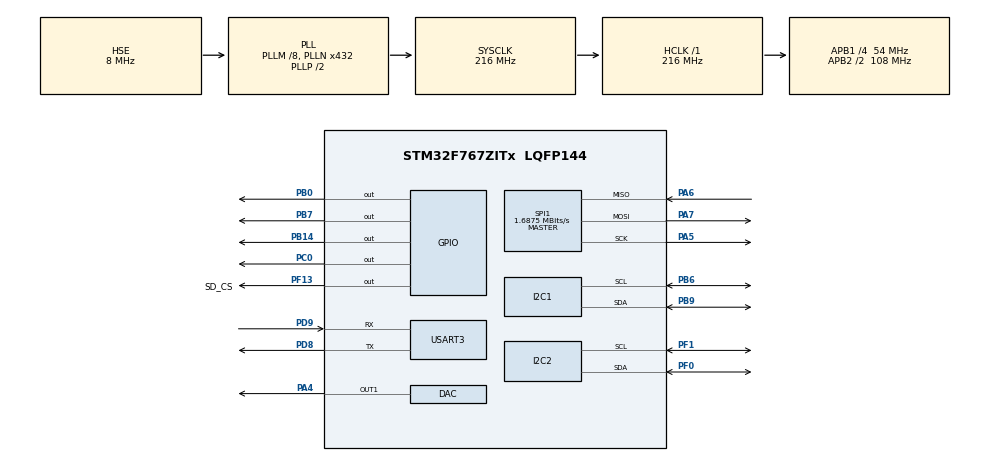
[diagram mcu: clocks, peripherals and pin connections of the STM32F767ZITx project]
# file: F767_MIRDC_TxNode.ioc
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CORTEX_M7.default_mode_Activation=1
DAC.DAC_Trigger=DAC_TRIGGER_T6_TRGO
Dma.DAC1.0.Direction=DMA_MEMORY_TO_PERIPH
Dma.DAC1.0.FIFOMode=DMA_FIFOMODE_DISABLE
Dma.DAC1.0.Instance=DMA1_Stream5
Dma.DAC1.0.MemDataAlignment=DMA_MDATAALIGN_HALFWORD
Dma.DAC1.0.MemInc=DMA_MINC_ENABLE
Dma.DAC1.0.Mode=DMA_NORMAL
Dma.DAC1.0.PeriphDataAlignment=DMA_PDATAALIGN_HALFWORD
Dma.DAC1.0.PeriphInc=DMA_PINC_DISABLE
Dma.DAC1.0.Priority=DMA_PRIORITY_HIGH
Dma.Request0=DAC1
I2C1.Timing=0x20404768
I2C2.Timing=0x20404768
Mcu.Family=STM32F7
Mcu.Name=STM32F767ZITx
Mcu.Package=LQFP144
NVIC.DMA1_Stream5_IRQn=true\:0\:0\:false\:false\:true\:false\:true\:true
NVIC.PriorityGroup=NVIC_PRIORITYGROUP_4
PA4.Signal=COMP_DAC1_group
PA5.Mode=Full_Duplex_Master
PA5.Signal=SPI1_SCK
PA6.Mode=Full_Duplex_Master
PA6.Signal=SPI1_MISO
PA7.Mode=Full_Duplex_Master
PA7.Signal=SPI1_MOSI
PB0.Signal=GPIO_Output
PB14.Signal=GPIO_Output
PB6.Mode=I2C
PB6.Signal=I2C1_SCL
PB7.Signal=GPIO_Output
PB9.Mode=I2C
PB9.Signal=I2C1_SDA
PC0.Signal=GPIO_Output
PD8.Mode=Asynchronous
PD8.Signal=USART3_TX
PD9.Mode=Asynchronous
PD9.Signal=USART3_RX
PF0.Mode=I2C
PF0.Signal=I2C2_SDA
PF1.Mode=I2C
PF1.Signal=I2C2_SCL
PF13.GPIO_Label=SD_CS
PF13.Signal=GPIO_Output
PH0/OSC_IN.Mode=HSE-External-Clock-Source
PH0/OSC_IN.Signal=RCC_OSC_IN
PH1/OSC_OUT.Mode=HSE-External-Clock-Source
PH1/OSC_OUT.Signal=RCC_OSC_OUT
ProjectManager.HeapSize=0x200
ProjectManager.StackSize=0x400
ProjectManager.TargetToolchain=STM32CubeIDE
RCC.AHBFreq_Value=216000000
RCC.APB1CLKDivider=RCC_HCLK_DIV4
RCC.APB1Freq_Value=54000000
RCC.APB1TimFreq_Value=108000000
RCC.APB2CLKDivider=RCC_HCLK_DIV2
RCC.APB2Freq_Value=108000000
RCC.APB2TimFreq_Value=216000000
RCC.CortexFreq_Value=216000000
RCC.HCLKFreq_Value=216000000
RCC.HSE_VALUE=8000000
RCC.HSI_VALUE=16000000
RCC.LSE_VALUE=32768
RCC.PLLM=8
RCC.PLLN=432
RCC.PLLSourceVirtual=RCC_PLLSOURCE_HSE
RCC.SYSCLKFreq_VALUE=216000000
RCC.SYSCLKSource=RCC_SYSCLKSOURCE_PLLCLK
RCC.USBFreq_Value=216000000
RCC.VCOOutputFreq_Value=432000000
SH.COMP_DAC1_group.0=DAC_OUT1,DAC_OUT1
SPI1.BaudRatePrescaler=SPI_BAUDRATEPRESCALER_64
SPI1.CalculateBaudRate=1.6875 MBits/s
SPI1.DataSize=SPI_DATASIZE_8BIT
SPI1.Direction=SPI_DIRECTION_2LINES
SPI1.Mode=SPI_MODE_MASTER
SPI1.VirtualType=VM_MASTER
TIM6.Period=561
TIM6.TIM_MasterOutputTrigger=TIM_TRGO_UPDATE
USART3.VirtualMode-Asynchronous=VM_ASYNC
VP_FATFS_VS_Generic.Mode=User_defined
VP_TIM6_VS_ClockSourceINT.Mode=Enable_Timer
board=custom

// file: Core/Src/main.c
/* USER CODE BEGIN Header */
/* F767_MIRDC_TxNode */
/**
  ******************************************************************************
  * @file           : main.c
  * @brief          : Main program body
  ******************************************************************************
  * @attention
  *
  * Copyright (c) 2026 STMicroelectronics.
  * All rights reserved.
  *
  * This software is licensed under terms that can be found in the LICENSE file
  * in the root directory of this software component.
  * If no LICENSE file comes with this software, it is provided AS-IS.
  *
  ******************************************************************************
  */
/* USER CODE END Header */
#include "main.h"
#include "fatfs.h"

/* USER CODE BEGIN Includes */
#include <stdio.h>
#include <string.h>

#include "imu_types.h"
#include "led_ctrl.h"
#include "relay_ctrl.h"
#include "ds3231.h"
#include "mpu6050.h"
#include "avg_buffer.h"
#include "packet.h"
#include "dbpsk_mod.h"
#include "sd_logger.h"
#include "dac_stream.h"
/* USER CODE END Includes */

DAC_HandleTypeDef hdac;
DMA_HandleTypeDef hdma_dac1;

I2C_HandleTypeDef hi2c1;
I2C_HandleTypeDef hi2c2;

SPI_HandleTypeDef hspi1;

TIM_HandleTypeDef htim6;

UART_HandleTypeDef huart3;

/* USER CODE BEGIN PV */
// #define DAC_BUFFER_SIZE 192000

static uint8_t packet_buffer[4][64];
static uint16_t packet_lengths[4];

// static uint16_t dac_buffer[DAC_BUFFER_SIZE];

static uint16_t seq_id = 0;
/* USER CODE END PV */

void SystemClock_Config(void);
static void MPU_Config(void);
static void MX_GPIO_Init(void);
static void MX_DMA_Init(void);
static void MX_DAC_Init(void);
static void MX_I2C1_Init(void);
static void MX_I2C2_Init(void);
static void MX_SPI1_Init(void);
static void MX_TIM6_Init(void);
static void MX_USART3_UART_Init(void);
/* USER CODE BEGIN PFP */
static void Execute_TransmitSequence(uint64_t timestamp, uint32_t timestamp_high, uint32_t timestamp_low);
/* USER CODE END PFP */

/* USER CODE BEGIN 0 */
int _write(int file , char *ptr , int len)
{
  HAL_UART_Transmit(&huart3 , (uint8_t *)ptr , len , HAL_MAX_DELAY);
  return len;
} // end function _write

void DAC_Play(uint16_t *buffer , uint32_t sample_len)
{
  printf("DAC_Play sample_len = %lu\r\n" , sample_len);

  if (sample_len == 0)
  {
    printf("DAC sample_len is 0, skip DAC play\r\n");
    LED_GreenOnly();
    // Relay_Off;
    return;
  } // end if no sample

  LED_RedOnly();

  HAL_TIM_Base_Start(&htim6);

  HAL_StatusTypeDef ret;

  ret = HAL_DAC_Start_DMA(&hdac , DAC_CHANNEL_1 , (uint32_t *)buffer , sample_len , DAC_ALIGN_12B_R);

  printf("HAL_DAC_Start_DMA ret = %d\r\n" , ret);

  if (ret != HAL_OK)
  {
    printf("DAC DMA start failed\r\n");
    HAL_TIM_Base_Stop(&htim6);
    LED_GreenOnly();
    return;
  } // end if

  while (HAL_DAC_GetState(&hdac) != HAL_DAC_STATE_READY)
  {
    // wait for DAC DMA complete
  } // end while

  HAL_DAC_Stop_DMA(&hdac , DAC_CHANNEL_1);
  HAL_TIM_Base_Stop(&htim6);
} // end function DAC_Play

static void Execute_TransmitSequence(uint64_t timestamp, uint32_t timestamp_high, uint32_t timestamp_low)
{
  IMU_Avg_t avg = AvgBuffer_GetAverage();
  const uint16_t avg_count = AvgBuffer_GetCount();

  LED_BlueOnly();
  Relay_On();

  // delay for stable Relay
  HAL_Delay(1000);

  printf("#########################################################\r\n");
  printf("Scheduled transmit triggered. Count=%u\r\n" , (unsigned int)avg_count);

  // only build package
  for (uint8_t pair = 1U; pair <= 4U; pair++)
  {
    const uint8_t pair_index = pair - 1U;

    packet_lengths[pair_index] = Packet_Build(packet_buffer[pair_index], pair, seq_id, timestamp, avg);

    printf("Pair %u built, len=%u\r\n", (unsigned int)pair, (unsigned int)packet_lengths[pair_index]);
  } // end for

  // write in SD card
  uint8_t log_success = 1U;

  for (uint8_t pair = 1U; pair <= 4U; pair++)
  {
    const uint8_t pair_index = pair - 1U;

    FRESULT log_result = SD_LogTxPacket(timestamp, seq_id, pair, packet_buffer[pair_index], packet_lengths[pair_index]);

    if (log_result != FR_OK)
    {
      printf("Pair %u TX log failed. res=%d\r\n", (unsigned int)pair, log_result);

      log_success = 0U;
      break;
    } // end if

    printf("Pair %u ready, len=%u,timestamp=%lu%09lu\r\n", (unsigned int)pair, (unsigned int)packet_lengths[pair_index], (unsigned long)timestamp_high, (unsigned long)timestamp_low);
  } // end for

  if (log_success == 0U)
  {
    Relay_Off();
    LED_GreenOnly();

    printf("Transmit cancelled because TX log failed.\r\n");
    printf("#########################################################\r\n");
  } // end if

  LED_RedOnly();
  HAL_StatusTypeDef stream_status = DAC_Stream_StartSequence(packet_buffer, packet_lengths);

  printf("DAC stream ret=%d\r\n", stream_status);

  if (stream_status == HAL_OK)
  {
    while ((DAC_Stream_IsFinished() == 0U) && (DAC_Stream_HasError() == 0U))
    {
      DAC_Stream_Process();
    } // end while

    DAC_Stream_Stop();

    if (DAC_Stream_HasError() != 0U)
    {
      printf("DAC stream error.\r\n");
    } // end if
    else
    {
      printf("DAC stream completed.\r\n");

      seq_id++;
      AvgBuffer_Clear();
    } // end else
  }
  else
  {
    printf("DAC stream start failed.\r\n");
  } // end else

  Relay_Off();
  LED_GreenOnly();

  printf("#########################################################\r\n");
} // end function Excute_TransmitSequence
/* USER CODE END 0 */

int main(void)
{

  /* MPU Configuration--------------------------------------------------------*/
  MPU_Config();

  /* MCU Configuration--------------------------------------------------------*/

  /* Reset of all peripherals, Initializes the Flash interface and the Systick. */
  HAL_Init();

  /* Configure the system clock */
  SystemClock_Config();

  /* Initialize all configured peripherals */
  MX_GPIO_Init();
  MX_DMA_Init();
  MX_DAC_Init();
  MX_I2C1_Init();
  MX_I2C2_Init();
  MX_SPI1_Init();
  MX_TIM6_Init();
  MX_FATFS_Init();
  MX_USART3_UART_Init();
  /* USER CODE BEGIN 2 */
  HAL_Delay(1000);
  LED_AllOff();
  Relay_Off();

  printf("System boot...\r\n");

  if (MPU6050_Init(&hi2c1) != HAL_OK)
  {
    printf("MPU6050 init failed.\r\n");
  } // end if mpu6050 not ok
  else
  {
    printf("MPU6050 init OK.\r\n");
  } // end else

  if (SD_Logger_Init() != FR_OK)
  {
    printf("SD init failed.\r\n");
  } // end if SD card not ok
  else
  {
    printf("SD init OK.\r\n");
  } // end else

  printf("Building DAC symbol cache...\r\n");
  DAC_Stream_Init();
  printf("DAC symbol cache ready.\r\n");

  LED_GreenOnly();    // Standby state

// avoid dac output once we boot
uint32_t boot_tick = HAL_GetTick();

  printf("System ready.\r\n");
  DS3231_Time_t now = {0};

  if (DS3231_GetTime(&hi2c2, &now) != HAL_OK)
  {
    printf("Initial DS3231 read failed.\r\n");
  } // end if unable to read time

  uint8_t last_minute = now.minute;
  uint8_t last_second = now.second;
  /* USER CODE END 2 */

  /* Infinite loop */
  while (1)
  {

    /* USER CODE BEGIN 3 */

    if (DS3231_GetTime(&hi2c2 , &now) == HAL_OK)
    {
      // switch period
      // if (now.minute != last_minute)
      if (now.second != last_second)
      {
        last_second = now.second;

        LED_GreenOnly();

        IMU_Raw_t imu;

        if (MPU6050_ReadRaw(&hi2c1 , &imu) == HAL_OK)
        {
          uint64_t timestamp = DS3231_ToSimpleTimestamp(&now);

          SD_LogRaw(timestamp , imu);

          AvgBuffer_Add(imu);

          // printf("Count=%u\r\n", (unsigned int)AvgBuffer_GetCount());
          // printf("ACC=%.2f,%.2f,%.2f, GYRO=%.2f,%.2f,%.2f\r\n", imu.acc_x , imu.acc_y , imu.acc_z , imu.gyro_x , imu.gyro_y , imu.gyro_z);

          uint32_t timestamp_high = timestamp / 1000000000ULL;
          uint32_t timestamp_low = timestamp % 1000000000ULL;

          // printf("Time=%lu%09lu\r\n" ,timestamp_high , timestamp_low);

          printf("RAW saved. Time=%lu%09lu, Count=%u, ACC=%.2f,%.2f,%.2f, GYRO=%.2f,%.2f,%.2f\r\n",
            timestamp_high , timestamp_low , (unsigned int)AvgBuffer_GetCount() , imu.acc_x , imu.acc_y , imu.acc_z , imu.gyro_x , imu.gyro_y , imu.gyro_z);

          // if ((now.minute == 0) && (AvgBuffer_GetCount() > 0))
          if ((now.minute != last_minute) && (AvgBuffer_GetCount() > 0U) && (HAL_GetTick() - boot_tick >= 60000U) && (now.second == 0U))
          {
            last_minute = now.minute;

            Execute_TransmitSequence(timestamp, timestamp_high, timestamp_low);
          } // end scheduled mission

        } // end if able to read MPU6050
        else
        {
          printf("MPU6050 read failed.\r\n");
        } // end else
      } // end if reach trigger time
    } // end if DS3231 able to get time
    else
    {
      printf("DS3231 read failed.\r\n");
    } // end else

    HAL_Delay(100);
  } // end while
  /* USER CODE END 3 */
}

void SystemClock_Config(void)
{
  RCC_OscInitTypeDef RCC_OscInitStruct = {0};
  RCC_ClkInitTypeDef RCC_ClkInitStruct = {0};

  /** Configure the main internal regulator output voltage
  */
  __HAL_RCC_PWR_CLK_ENABLE();
  __HAL_PWR_VOLTAGESCALING_CONFIG(PWR_REGULATOR_VOLTAGE_SCALE1);

  /** Initializes the RCC Oscillators according to the specified parameters
  * in the RCC_OscInitTypeDef structure.
  */
  RCC_OscInitStruct.OscillatorType = RCC_OSCILLATORTYPE_HSE;
  RCC_OscInitStruct.HSEState = RCC_HSE_BYPASS;
  RCC_OscInitStruct.PLL.PLLState = RCC_PLL_ON;
  RCC_OscInitStruct.PLL.PLLSource = RCC_PLLSOURCE_HSE;
  RCC_OscInitStruct.PLL.PLLM = 8;
  RCC_OscInitStruct.PLL.PLLN = 432;
  RCC_OscInitStruct.PLL.PLLP = RCC_PLLP_DIV2;
  RCC_OscInitStruct.PLL.PLLQ = 2;
  RCC_OscInitStruct.PLL.PLLR = 2;
  if (HAL_RCC_OscConfig(&RCC_OscInitStruct) != HAL_OK)
  {
    Error_Handler();
  }

  /** Activate the Over-Drive mode
  */
  if (HAL_PWREx_EnableOverDrive() != HAL_OK)
  {
    Error_Handler();
  }

  /** Initializes the CPU, AHB and APB buses clocks
  */
  RCC_ClkInitStruct.ClockType = RCC_CLOCKTYPE_HCLK|RCC_CLOCKTYPE_SYSCLK
                              |RCC_CLOCKTYPE_PCLK1|RCC_CLOCKTYPE_PCLK2;
  RCC_ClkInitStruct.SYSCLKSource = RCC_SYSCLKSOURCE_PLLCLK;
  RCC_ClkInitStruct.AHBCLKDivider = RCC_SYSCLK_DIV1;
  RCC_ClkInitStruct.APB1CLKDivider = RCC_HCLK_DIV4;
  RCC_ClkInitStruct.APB2CLKDivider = RCC_HCLK_DIV2;

  if (HAL_RCC_ClockConfig(&RCC_ClkInitStruct, FLASH_LATENCY_7) != HAL_OK)
  {
    Error_Handler();
  }
}

static void MX_DAC_Init(void)
{

  DAC_ChannelConfTypeDef sConfig = {0};

  /** DAC Initialization
  */
  hdac.Instance = DAC;
  if (HAL_DAC_Init(&hdac) != HAL_OK)
  {
    Error_Handler();
  }

  /** DAC channel OUT1 config
  */
  sConfig.DAC_Trigger = DAC_TRIGGER_T6_TRGO;
  sConfig.DAC_OutputBuffer = DAC_OUTPUTBUFFER_ENABLE;
  if (HAL_DAC_ConfigChannel(&hdac, &sConfig, DAC_CHANNEL_1) != HAL_OK)
  {
    Error_Handler();
  }

}

static void MX_I2C1_Init(void)
{

  hi2c1.Instance = I2C1;
  hi2c1.Init.Timing = 0x20404768;
  hi2c1.Init.OwnAddress1 = 0;
  hi2c1.Init.AddressingMode = I2C_ADDRESSINGMODE_7BIT;
  hi2c1.Init.DualAddressMode = I2C_DUALADDRESS_DISABLE;
  hi2c1.Init.OwnAddress2 = 0;
  hi2c1.Init.OwnAddress2Masks = I2C_OA2_NOMASK;
  hi2c1.Init.GeneralCallMode = I2C_GENERALCALL_DISABLE;
  hi2c1.Init.NoStretchMode = I2C_NOSTRETCH_DISABLE;
  if (HAL_I2C_Init(&hi2c1) != HAL_OK)
  {
    Error_Handler();
  }

  /** Configure Analogue filter
  */
  if (HAL_I2CEx_ConfigAnalogFilter(&hi2c1, I2C_ANALOGFILTER_ENABLE) != HAL_OK)
  {
    Error_Handler();
  }

  /** Configure Digital filter
  */
  if (HAL_I2CEx_ConfigDigitalFilter(&hi2c1, 0) != HAL_OK)
  {
    Error_Handler();
  }

}

static void MX_I2C2_Init(void)
{

  hi2c2.Instance = I2C2;
  hi2c2.Init.Timing = 0x20404768;
  hi2c2.Init.OwnAddress1 = 0;
  hi2c2.Init.AddressingMode = I2C_ADDRESSINGMODE_7BIT;
  hi2c2.Init.DualAddressMode = I2C_DUALADDRESS_DISABLE;
  hi2c2.Init.OwnAddress2 = 0;
  hi2c2.Init.OwnAddress2Masks = I2C_OA2_NOMASK;
  hi2c2.Init.GeneralCallMode = I2C_GENERALCALL_DISABLE;
  hi2c2.Init.NoStretchMode = I2C_NOSTRETCH_DISABLE;
  if (HAL_I2C_Init(&hi2c2) != HAL_OK)
  {
    Error_Handler();
  }

  /** Configure Analogue filter
  */
  if (HAL_I2CEx_ConfigAnalogFilter(&hi2c2, I2C_ANALOGFILTER_ENABLE) != HAL_OK)
  {
    Error_Handler();
  }

  /** Configure Digital filter
  */
  if (HAL_I2CEx_ConfigDigitalFilter(&hi2c2, 0) != HAL_OK)
  {
    Error_Handler();
  }

}

static void MX_SPI1_Init(void)
{

  /* SPI1 parameter configuration*/
  hspi1.Instance = SPI1;
  hspi1.Init.Mode = SPI_MODE_MASTER;
  hspi1.Init.Direction = SPI_DIRECTION_2LINES;
  hspi1.Init.DataSize = SPI_DATASIZE_8BIT;
  hspi1.Init.CLKPolarity = SPI_POLARITY_LOW;
  hspi1.Init.CLKPhase = SPI_PHASE_1EDGE;
  hspi1.Init.NSS = SPI_NSS_SOFT;
  hspi1.Init.BaudRatePrescaler = SPI_BAUDRATEPRESCALER_256;
  hspi1.Init.FirstBit = SPI_FIRSTBIT_MSB;
  hspi1.Init.TIMode = SPI_TIMODE_DISABLE;
  hspi1.Init.CRCCalculation = SPI_CRCCALCULATION_DISABLE;
  hspi1.Init.CRCPolynomial = 7;
  hspi1.Init.CRCLength = SPI_CRC_LENGTH_DATASIZE;
  hspi1.Init.NSSPMode = SPI_NSS_PULSE_DISABLE;
  if (HAL_SPI_Init(&hspi1) != HAL_OK)
  {
    Error_Handler();
  }

}

static void MX_TIM6_Init(void)
{

  TIM_MasterConfigTypeDef sMasterConfig = {0};

  htim6.Instance = TIM6;
  htim6.Init.Prescaler = 0;
  htim6.Init.CounterMode = TIM_COUNTERMODE_UP;
  htim6.Init.Period = 561;
  htim6.Init.AutoReloadPreload = TIM_AUTORELOAD_PRELOAD_DISABLE;
  if (HAL_TIM_Base_Init(&htim6) != HAL_OK)
  {
    Error_Handler();
  }
  sMasterConfig.MasterOutputTrigger = TIM_TRGO_UPDATE;
  sMasterConfig.MasterSlaveMode = TIM_MASTERSLAVEMODE_DISABLE;
  if (HAL_TIMEx_MasterConfigSynchronization(&htim6, &sMasterConfig) != HAL_OK)
  {
    Error_Handler();
  }

}

static void MX_USART3_UART_Init(void)
{

  huart3.Instance = USART3;
  huart3.Init.BaudRate = 115200;
  huart3.Init.WordLength = UART_WORDLENGTH_8B;
  huart3.Init.StopBits = UART_STOPBITS_1;
  huart3.Init.Parity = UART_PARITY_NONE;
  huart3.Init.Mode = UART_MODE_TX_RX;
  huart3.Init.HwFlowCtl = UART_HWCONTROL_NONE;
  huart3.Init.OverSampling = UART_OVERSAMPLING_16;
  huart3.Init.OneBitSampling = UART_ONE_BIT_SAMPLE_DISABLE;
  huart3.AdvancedInit.AdvFeatureInit = UART_ADVFEATURE_NO_INIT;
  if (HAL_UART_Init(&huart3) != HAL_OK)
  {
    Error_Handler();
  }

}

static void MX_DMA_Init(void)
{

  /* DMA controller clock enable */
  __HAL_RCC_DMA1_CLK_ENABLE();

  /* DMA interrupt init */
  /* DMA1_Stream5_IRQn interrupt configuration */
  HAL_NVIC_SetPriority(DMA1_Stream5_IRQn, 0, 0);
  HAL_NVIC_EnableIRQ(DMA1_Stream5_IRQn);

}

static void MX_GPIO_Init(void)
{
  GPIO_InitTypeDef GPIO_InitStruct = {0};

  /* GPIO Ports Clock Enable */
  __HAL_RCC_GPIOF_CLK_ENABLE();
  __HAL_RCC_GPIOH_CLK_ENABLE();
  __HAL_RCC_GPIOC_CLK_ENABLE();
  __HAL_RCC_GPIOA_CLK_ENABLE();
  __HAL_RCC_GPIOB_CLK_ENABLE();
  __HAL_RCC_GPIOD_CLK_ENABLE();

  /*Configure GPIO pin Output Level */
  HAL_GPIO_WritePin(GPIOC, GPIO_PIN_0, GPIO_PIN_RESET);

  /*Configure GPIO pin Output Level */
  HAL_GPIO_WritePin(GPIOB, GPIO_PIN_0|GPIO_PIN_14|GPIO_PIN_7, GPIO_PIN_RESET);

  /*Configure GPIO pin Output Level */
  HAL_GPIO_WritePin(SD_CS_GPIO_Port, SD_CS_Pin, GPIO_PIN_RESET);

  /*Configure GPIO pin : PC0 */
  GPIO_InitStruct.Pin = GPIO_PIN_0;
  GPIO_InitStruct.Mode = GPIO_MODE_OUTPUT_PP;
  GPIO_InitStruct.Pull = GPIO_NOPULL;
  GPIO_InitStruct.Speed = GPIO_SPEED_FREQ_LOW;
  HAL_GPIO_Init(GPIOC, &GPIO_InitStruct);

  /*Configure GPIO pins : PB0 PB14 PB7 */
  GPIO_InitStruct.Pin = GPIO_PIN_0|GPIO_PIN_14|GPIO_PIN_7;
  GPIO_InitStruct.Mode = GPIO_MODE_OUTPUT_PP;
  GPIO_InitStruct.Pull = GPIO_NOPULL;
  GPIO_InitStruct.Speed = GPIO_SPEED_FREQ_LOW;
  HAL_GPIO_Init(GPIOB, &GPIO_InitStruct);

  /*Configure GPIO pin : SD_CS_Pin */
  GPIO_InitStruct.Pin = SD_CS_Pin;
  GPIO_InitStruct.Mode = GPIO_MODE_OUTPUT_PP;
  GPIO_InitStruct.Pull = GPIO_NOPULL;
  GPIO_InitStruct.Speed = GPIO_SPEED_FREQ_LOW;
  HAL_GPIO_Init(SD_CS_GPIO_Port, &GPIO_InitStruct);

}

 /* MPU Configuration */

void MPU_Config(void)
{
  MPU_Region_InitTypeDef MPU_InitStruct = {0};

  /* Disables the MPU */
  HAL_MPU_Disable();

  /** Initializes and configures the Region and the memory to be protected
  */
  MPU_InitStruct.Enable = MPU_REGION_ENABLE;
  MPU_InitStruct.Number = MPU_REGION_NUMBER0;
  MPU_InitStruct.BaseAddress = 0x0;
  MPU_InitStruct.Size = MPU_REGION_SIZE_4GB;
  MPU_InitStruct.SubRegionDisable = 0x87;
  MPU_InitStruct.TypeExtField = MPU_TEX_LEVEL0;
  MPU_InitStruct.AccessPermission = MPU_REGION_NO_ACCESS;
  MPU_InitStruct.DisableExec = MPU_INSTRUCTION_ACCESS_DISABLE;
  MPU_InitStruct.IsShareable = MPU_ACCESS_SHAREABLE;
  MPU_InitStruct.IsCacheable = MPU_ACCESS_NOT_CACHEABLE;
  MPU_InitStruct.IsBufferable = MPU_ACCESS_NOT_BUFFERABLE;

  HAL_MPU_ConfigRegion(&MPU_InitStruct);
  /* Enables the MPU */
  HAL_MPU_Enable(MPU_PRIVILEGED_DEFAULT);

}

void Error_Handler(void)
{
  __disable_irq();
  while (1)
  {
  }
}
